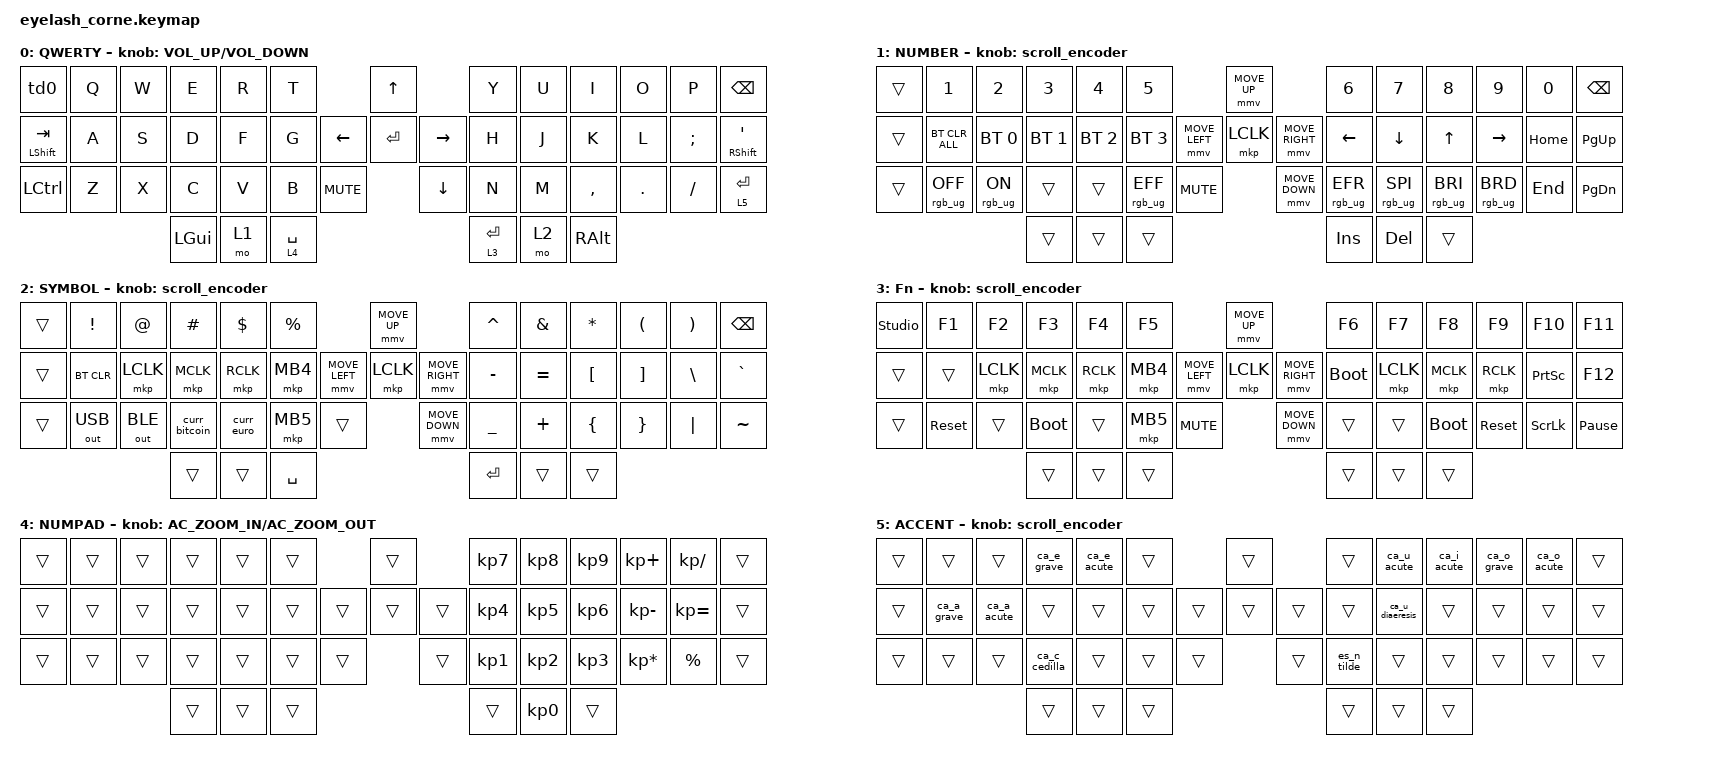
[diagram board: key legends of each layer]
#define ZMK_POINTING_DEFAULT_MOVE_VAL 1200  // 600
#define ZMK_POINTING_DEFAULT_SCRL_VAL 25   // 10

#include <input/processors.dtsi>
#include <zephyr/dt-bindings/input/input-event-codes.h>

//new includes and defines for unicode chars
//----------------------------------------------------//
//for linux
//#define HOST_OS 1
//for mac

#define HOST_OS 2

//include unicode dtsi for zmk-unicode
// keymap.keymap
//#include <behaviors/unicode.dtsi>

#include <behaviors.dtsi>
#include <dt-bindings/zmk/bt.h>
#include <dt-bindings/zmk/keys.h>
#include <dt-bindings/zmk/outputs.h>
#include <dt-bindings/zmk/pointing.h>
#include <dt-bindings/zmk/rgb.h>
#include "zmk-helpers/helper.h"

// Source desired key-position labels

#include "zmk-helpers/key-labels/eyelash42.h"

// Source unicode-chars for desired languages

#include "catalan.dtsi"
#include "zmk-helpers/unicode-chars/currency.dtsi"

//&uc {
//    default-mode = <UC_MODE_MACOS>;  // Replace with desired input system.
//};
//----------------------------------------------------//
//end of includes for unicode chars

&mmv_input_listener { input-processors = <&zip_xy_scaler 2 1>; };

&msc_input_listener { input-processors = <&zip_scroll_scaler 2 1>; };

&msc {
    acceleration-exponent = <1>;      // 0
    time-to-max-speed-ms = <100>;       // 300
    delay-ms = <0>;                   // 0
};

&mmv {
    time-to-max-speed-ms = <500>;
    acceleration-exponent = <1>;
    trigger-period-ms = <16>;
};

&soft_off { hold-time-ms = <2000>; };

/ {
    behaviors {
        td0: td0 {
            compatible = "zmk,behavior-tap-dance";
            display-name = "ESC/Caps Lock Tap Dance";
            #binding-cells = <0>;
            bindings = <&kp ESC>, <&kp CAPS>;
        };

        td1: td1 {
            compatible = "zmk,behavior-tap-dance";
            display-name = "TAB/Left Shift Tap Dance";
            #binding-cells = <0>;
            bindings = <&kp TAB>, <&kp LSHIFT>;
        };
        tap_pref: tap_pref {
            compatible = "zmk,behavior-hold-tap";
            label = "tap preffered";
            #binding-cells = <2>;

            // Make taps win more often
            flavor = "tap-preferred";

            // Increase tap window (tweak 250–300 if needed)
            tapping-term-ms = <275>;

            // Give you a little forgiveness for quick repeats
            quick-tap-ms = <200>;

            // Booleans: present = enabled
            // We want retro-tap ON, but we want to keep
            // "hold-trigger-on-other-key-press" OFF → just omit it.
            retro-tap;

            // Hold = Shift, Tap = Apostrophe
            bindings = <&kp &kp>;
        };
    };

    rgb_encoder: rgb_encoder {
        compatible = "zmk,behavior-sensor-rotate";
        #sensor-binding-cells = <0>;
        bindings = <&rgb_ug RGB_BRI>, <&rgb_ug RGB_BRD>;
    };

    scroll_encoder: scroll_encoder {
        compatible = "zmk,behavior-sensor-rotate";
        #sensor-binding-cells = <0>;
        bindings = <&msc SCRL_DOWN>, <&msc SCRL_UP>;

        tap-ms = <100>;
    };

    combos {
        compatible = "zmk,combos";

        softoff {
            bindings = <&soft_off>;
            key-positions = <1 15 29>;
        };
    };

    keymap {
        compatible = "zmk,keymap";

        default_layer {
            display-name = "QWERTY";
            bindings = <
&td0            &kp Q  &kp W  &kp E     &kp R  &kp T                                &kp UP                &kp Y        &kp U  &kp I      &kp O    &kp P     &kp BSPC
&mt LSHIFT TAB  &kp A  &kp S  &kp D     &kp F  &kp G                      &kp LEFT  &kp ENTER  &kp RIGHT  &kp H        &kp J  &kp K      &kp L    &kp SEMI  &tap_pref RSHIFT SQT
&kp LCTRL       &kp Z  &kp X  &kp C     &kp V  &kp B        &kp C_MUTE              &kp DOWN              &kp N        &kp M  &kp COMMA  &kp DOT  &kp FSLH  &lt 5 ENTER
                              &kp LGUI  &mo 1  &lt 4 SPACE                                                &lt 3 ENTER  &mo 2  &kp RALT
            >;

            sensor-bindings = <&inc_dec_kp C_VOLUME_UP C_VOLUME_DOWN>;
        };

        lower_layer {
            display-name = "NUMBER";
            bindings = <
&trans  &kp N1           &kp N2          &kp N3        &kp N4        &kp N5                                         &mmv MOVE_UP                     &kp N6           &kp N7           &kp N8           &kp N9           &kp N0    &kp BSPC
&trans  &bt BT_CLR_ALL   &bt BT_SEL 0    &bt BT_SEL 1  &bt BT_SEL 2  &bt BT_SEL 3                   &mmv MOVE_LEFT  &mkp LCLK       &mmv MOVE_RIGHT  &kp LEFT         &kp DOWN         &kp UP           &kp RIGHT        &kp HOME  &kp PG_UP
&trans  &rgb_ug RGB_OFF  &rgb_ug RGB_ON  &trans        &trans        &rgb_ug RGB_EFF  &kp C_MUTE                    &mmv MOVE_DOWN                   &rgb_ug RGB_EFR  &rgb_ug RGB_SPI  &rgb_ug RGB_BRI  &rgb_ug RGB_BRD  &kp END   &kp PG_DN
                                         &trans        &trans        &trans                                                                          &kp INS          &kp DEL          &trans
            >;

            sensor-bindings = <&scroll_encoder>;
        };

        raise_layer {
            display-name = "SYMBOL";
            bindings = <
&trans  &kp EXCL      &kp AT        &kp HASH       &kp DLLR    &kp PRCNT                            &mmv MOVE_UP                     &kp CARET  &kp AMPS   &kp ASTRK  &kp LPAR  &kp RPAR  &kp BSPC
&trans  &bt BT_CLR    &mkp LCLK     &mkp MCLK      &mkp RCLK   &mkp MB4             &mmv MOVE_LEFT  &mkp LCLK       &mmv MOVE_RIGHT  &kp MINUS  &kp EQUAL  &kp LBKT   &kp RBKT  &kp BSLH  &kp GRAVE
&trans  &out OUT_USB  &out OUT_BLE  &curr_bitcoin  &curr_euro  &mkp MB5   &trans                    &mmv MOVE_DOWN                   &kp UNDER  &kp PLUS   &kp LBRC   &kp RBRC  &kp PIPE  &kp TILDE
                                    &trans         &trans      &kp SPACE                                                             &kp RET    &trans     &trans
            >;

            sensor-bindings = <&scroll_encoder>;
        };

        layer_3 {
            display-name = "Fn";
            bindings = <
&studio_unlock  &kp F1      &kp F2     &kp F3       &kp F4     &kp F5                                  &mmv MOVE_UP                     &kp F6       &kp F7     &kp F8       &kp F9      &kp F10          &kp F11
&trans          &trans      &mkp LCLK  &mkp MCLK    &mkp RCLK  &mkp MB4                &mmv MOVE_LEFT  &mkp LCLK       &mmv MOVE_RIGHT  &bootloader  &mkp LCLK  &mkp MCLK    &mkp RCLK   &kp PRINTSCREEN  &kp F12
&trans          &sys_reset  &trans     &bootloader  &trans     &mkp MB5  &kp C_MUTE                    &mmv MOVE_DOWN                   &trans       &trans     &bootloader  &sys_reset  &kp SCROLLLOCK   &kp PAUSE_BREAK
                                       &trans       &trans     &trans                                                                   &trans       &trans     &trans
            >;

            sensor-bindings = <&scroll_encoder>;
        };

        layer_4 {
            display-name = "NUMPAD";
            bindings = <
&trans  &trans  &trans  &trans  &trans  &trans                    &trans          &kp KP_NUMBER_7  &kp KP_NUMBER_8  &kp KP_NUMBER_9  &kp KP_PLUS      &kp KP_DIVIDE  &trans
&trans  &trans  &trans  &trans  &trans  &trans            &trans  &trans  &trans  &kp KP_NUMBER_4  &kp KP_NUMBER_5  &kp KP_NUMBER_6  &kp KP_MINUS     &kp KP_EQUAL   &trans
&trans  &trans  &trans  &trans  &trans  &trans  &trans            &trans          &kp KP_NUMBER_1  &kp KP_NUMBER_2  &kp KP_NUMBER_3  &kp KP_ASTERISK  &kp PERCENT    &trans
                        &trans  &trans  &trans                                    &trans           &kp KP_NUMBER_0  &trans
            >;

            sensor-bindings = <&inc_dec_kp C_AC_ZOOM_IN C_AC_ZOOM_OUT>;
        };

        layer_5 {
            display-name = "ACCENT";
            bindings = <
&trans  &trans       &trans       &ca_e_grave    &ca_e_acute  &trans                    &trans          &trans       &ca_u_acute      &ca_i_acute  &ca_o_grave  &ca_o_acute  &trans
&trans  &ca_a_grave  &ca_a_acute  &trans         &trans       &trans            &trans  &trans  &trans  &trans       &ca_u_diaeresis  &trans       &trans       &trans       &trans
&trans  &trans       &trans       &ca_c_cedilla  &trans       &trans  &trans            &trans          &es_n_tilde  &trans           &trans       &trans       &trans       &trans
                                  &trans         &trans       &trans                                    &trans       &trans           &trans
            >;

            sensor-bindings = <&scroll_encoder>;
        };
    };

    conditional_layers {
        compatible = "zmk,conditional-layers";

        activate_accent_layer {
            if-layers = <1 2>;
            then-layer = <5>;
        };
    };
};
